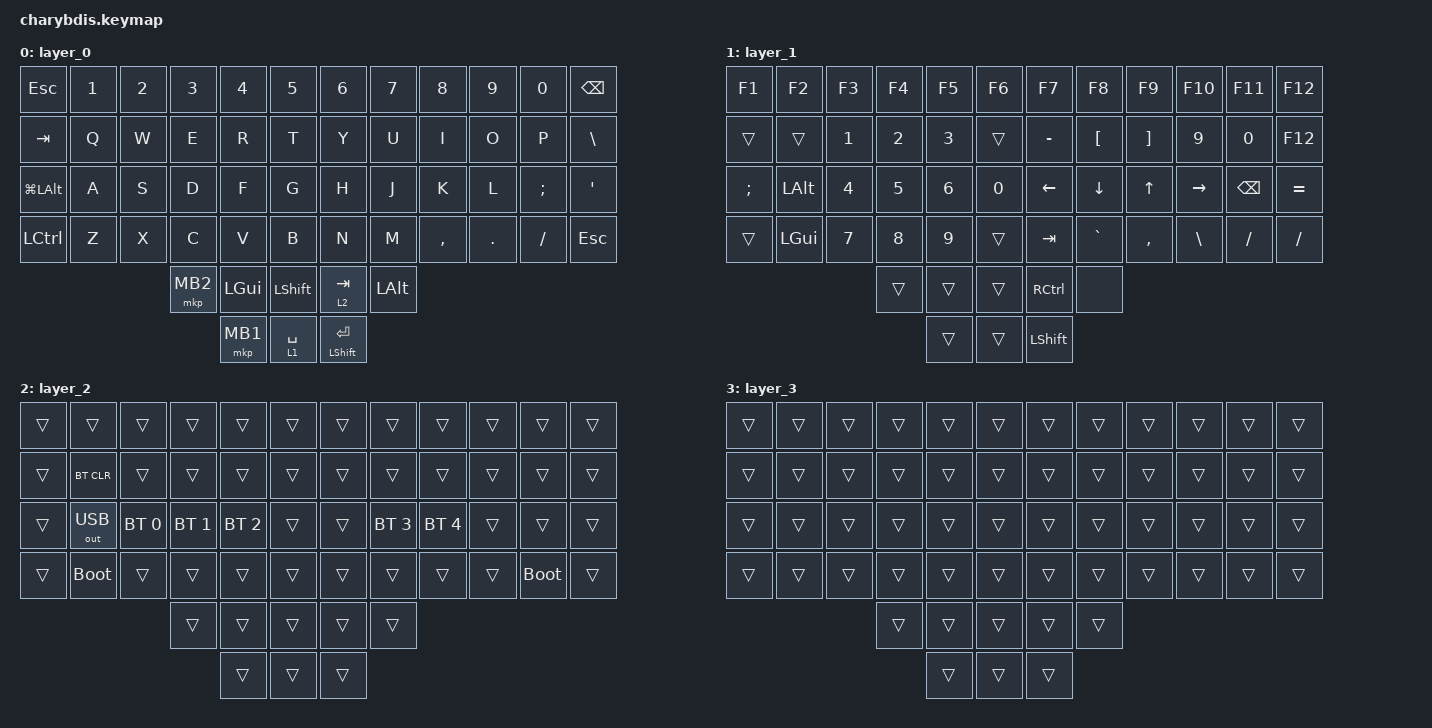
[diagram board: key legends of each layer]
#include <dt-bindings/zmk/mouse.h>
#include <behaviors.dtsi>
#include <dt-bindings/zmk/bt.h>
#include <dt-bindings/zmk/keys.h>
#include <dt-bindings/zmk/outputs.h>
#include <dt-bindings/zmk/pointing.h>

&lt {
    tapping-term-ms = <200>;
    flavor = "balanced";
    quick-tap-ms = <150>;
};

/ {
    combos {
        compatible = "zmk,combos";

        op_sq_br {
            bindings = <&kp LEFT_BRACKET>;
            key-positions = <15 16>;
        };

        cl_r_br {
            bindings = <&kp RIGHT_PARENTHESIS>;
            key-positions = <31 32>;
        };

        op_r_br {
            bindings = <&kp LEFT_PARENTHESIS>;
            key-positions = <27 28>;
        };

        cl_c_br {
            bindings = <&kp RIGHT_BRACE>;
            key-positions = <43 44>;
        };

        op_c_br {
            bindings = <&kp LEFT_BRACE>;
            key-positions = <39 40>;
        };

        cl_sq_br {
            bindings = <&kp RIGHT_BRACKET>;
            key-positions = <19 20>;
        };
    };

    keymap {
        compatible = "zmk,keymap";

        layer_0 {
            bindings = <
&kp ESC           &kp N1  &kp N2  &kp N3    &kp N4        &kp N5            &kp N6                &kp N7        &kp N8     &kp N9   &kp N0    &kp BACKSPACE
&kp TAB           &kp Q   &kp W   &kp E     &kp R         &kp T             &kp Y                 &kp U         &kp I      &kp O    &kp P     &kp BSLH
&kp LG(LEFT_ALT)  &kp A   &kp S   &kp D     &kp F         &kp G             &kp H                 &kp J         &kp K      &kp L    &kp SEMI  &kp SQT
&kp LCTRL         &kp Z   &kp X   &kp C     &kp V         &kp B             &kp N                 &kp M         &kp COMMA  &kp DOT  &kp FSLH  &kp ESCAPE
                                  &mkp MB2  &kp LEFT_GUI  &kp LEFT_SHIFT    &lt 2 TAB             &kp LEFT_ALT
                                            &mkp MB1      &lt 1 SPACE       &mt LEFT_SHIFT ENTER
            >;

            trackball-bindings = <&tmv_coarse>;
        };

        layer_1 {
            bindings = <
&kp F1    &kp F2    &kp F3  &kp F4  &kp F5  &kp F6    &kp F7          &kp F8          &kp F9        &kp F10    &kp F11   &kp F12
&trans    &trans    &kp N1  &kp N2  &kp N3  &trans    &kp MINUS       &kp LBKT        &kp RBKT      &kp N9     &kp N0    &kp F12
&kp SEMI  &kp LALT  &kp N4  &kp N5  &kp N6  &kp N0    &kp LEFT        &kp DOWN_ARROW  &kp UP_ARROW  &kp RIGHT  &kp BSPC  &kp EQUAL
&trans    &kp LGUI  &kp N7  &kp N8  &kp N9  &trans    &kp TAB         &kp GRAVE       &kp COMMA     &kp BSLH   &kp FSLH  &kp FSLH
                            &trans  &trans  &trans    &kp RCTRL       &none
                                    &trans  &trans    &kp LEFT_SHIFT
            >;

            trackball-bindings = <&tsl>;
        };

        layer_2 {
            bindings = <
&trans  &trans        &trans        &trans        &trans        &trans    &trans  &trans        &trans        &trans  &trans       &trans
&trans  &bt BT_CLR    &trans        &trans        &trans        &trans    &trans  &trans        &trans        &trans  &trans       &trans
&trans  &out OUT_USB  &bt BT_SEL 0  &bt BT_SEL 1  &bt BT_SEL 2  &trans    &trans  &bt BT_SEL 3  &bt BT_SEL 4  &trans  &trans       &trans
&trans  &bootloader   &trans        &trans        &trans        &trans    &trans  &trans        &trans        &trans  &bootloader  &trans
                                    &trans        &trans        &trans    &trans  &trans
                                                  &trans        &trans    &trans
            >;
        };

        layer_3 {
            bindings = <
&trans  &trans  &trans  &trans  &trans  &trans    &trans  &trans  &trans  &trans  &trans  &trans
&trans  &trans  &trans  &trans  &trans  &trans    &trans  &trans  &trans  &trans  &trans  &trans
&trans  &trans  &trans  &trans  &trans  &trans    &trans  &trans  &trans  &trans  &trans  &trans
&trans  &trans  &trans  &trans  &trans  &trans    &trans  &trans  &trans  &trans  &trans  &trans
                        &trans  &trans  &trans    &trans  &trans
                                &trans  &trans    &trans
            >;
        };

        /* layer_2 {
            bindings = <
&none  &none   &none    &none   &none         &none         &kp N1         &none         &none     &none  &none   &to 0
&none  &none   &none    &none   &none         &none         &none         &none          &rgb_ug RGB_BRD &rgb_ug RGB_BRI  &rgb_ug RGB_EFF   &rgb_ug RGB_TOG
&none  &none   &none    &none   &none         &none         &none         &mkp LCLK     &mkp RCLK  &none  &none   &none
&none  &none   &none    &none   &bt BT_NXT  &bt BT_CLR    &none         &none         &none     &none  &none   &none
                                   &none         &none         &none         &none         &none
                                                 &none         &none         &none
            >;
          trackball-bindings = <&tsl>;
            
        };

       Mouse {
            bindings = <
&none        &none         &none         &none         &none      &none         &none       &none      &none         &none         &none         &none
&none        &bt BT_SEL 0  &bt BT_SEL 1  &bt BT_SEL 3  &none      &bt BT_CLR    &bt BT_CLR  &none      &bt BT_SEL 2  &bt BT_SEL 1  &bt BT_SEL 0  &none
&none        &trans        &trans        &mkp MCLK     &trans     &none         &none       &trans     &mkp MCLK     &trans        &trans        &none
&bootloader  &trans        &mkp RCLK     &mo 4         &mkp LCLK  &mo 5         &mo 5       &mkp LCLK  &mo 4         &mkp RCLK     &trans        &bootloader
                                         &mo 5         &mkp LCLK  &mkp RCLK     &mkp RCLK   &mkp LCLK
                                                       &none      &trans        &trans
            >;

            
        };

        layer_4 {
            bindings = <
&trans  &trans  &trans     &trans     &trans     &trans       &trans     &trans     &trans     &trans     &trans  &trans
&trans  &trans  &trans     &trans     &trans     &trans       &trans     &trans     &trans     &trans     &trans  &trans
&trans  &trans  &trans     &mkp MCLK  &trans     &trans       &trans     &trans     &mkp MCLK  &trans     &trans  &trans
&trans  &trans  &mkp RCLK  &trans     &mkp LCLK  &trans       &trans     &mkp LCLK  &trans     &mkp RCLK  &trans  &trans
                           &trans     &mkp LCLK  &mkp RCLK    &mkp RCLK  &mkp LCLK
                                      &trans     &trans       &trans
            >;
                
                
                trackball-bindings = <&tsl>;
        };

        layer_5 {
            bindings = <
&trans  &trans  &trans     &trans     &trans     &trans       &trans     &trans     &trans     &trans     &trans  &trans
&trans  &trans  &trans     &trans     &trans     &trans       &trans     &trans     &trans     &trans     &trans  &trans
&trans  &trans  &trans     &mkp MCLK  &trans     &trans       &trans     &trans     &mkp MCLK  &trans     &trans  &trans
&trans  &trans  &mkp RCLK  &trans     &mkp LCLK  &trans       &trans     &mkp LCLK  &trans     &mkp RCLK  &trans  &trans
                           &trans     &mkp LCLK  &mkp RCLK    &mkp RCLK  &mkp LCLK
                                      &trans     &trans       &trans
            >;
                trackball-bindings = <&tmv_fine>;
                
        };*/
    };
};
